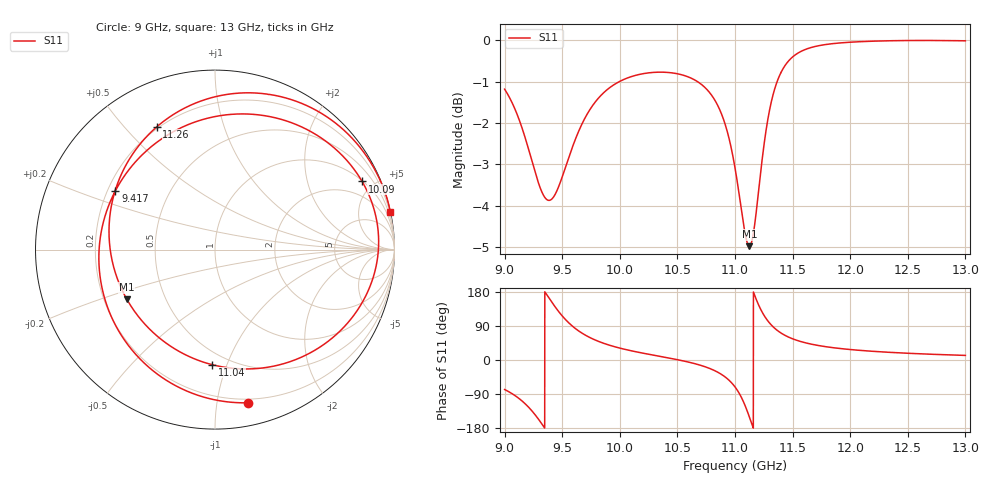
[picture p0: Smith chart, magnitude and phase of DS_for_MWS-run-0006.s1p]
! TOUCHSTONE file generated by CST DESIGN STUDIO
! Date and time: Tue Feb  4 18:41:41 2025
! Project name: C:\Work\MatlabApps\UnitCellOptimizationMatlab\CST\unitcell.cst
! Tree item: Tasks\Sweep1\SPara1\S-Parameters
! Header version: 2024
! Port assignment regex: !\s*Touchstone port\s*([0-9]+)\s*=\s*(CST MWS port|CST DES external port|CST DES block port)\s*(.+)\s* \(\"(.*)\"\)(\s*mode\s*([0-9]+))?.*
! Touchstone port assignment:
! Touchstone port 1 = CST DES external port 1 ("")
# GHz S MA R 50
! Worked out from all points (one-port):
!   4001 points, 9 GHz to 13 GHz, reference 50 ohm
!   lowest |S11| = -5.0 dB at 11.12 GHz (marker M1), VSWR 3.58, Z = 14.8 - j12.1 ohm
!   |S11| at or under -10 dB: nowhere
!   S11 on the Smith chart (normalised r, x): 9 GHz: 0.17, -1.22; 9.417 GHz: 0.23, +0.26; 10.09 GHz: 1.04, +4.30; 11.04 GHz: 0.41, -0.89; 11.26 GHz: 0.19, +0.62; 13 GHz: 0.05, +9.41
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9  0.873 -77.9
9.11  0.8129 -98.1
9.2  0.7451 -122.0
9.316  0.6593 -165.4
9.417  0.6444 149.5
9.5  0.6837 116.4
9.601  0.7509 86.2
9.734  0.822 60.2
9.856  0.8633 44.5
10  0.8922 31.4
10.091  0.9032 24.9
10.5  0.9112 0.9
10.686  0.8893 -12.6
10.819  0.8493 -27.4
10.918  0.7887 -45.6
11  0.7012 -71.0
11.043  0.6414 -91.4
11.084  0.5879 -117.6
11.125  0.5637 -150.5
11.185  0.6211 159.5
11.257  0.7569 115.4
11.346  0.875 83.4
11.418  0.9247 67.8
11.5  0.9549 55.9
11.695  0.9831 39.8
12  0.995 27.6
12.5  0.9997 17.8
13  0.9989 12.1
